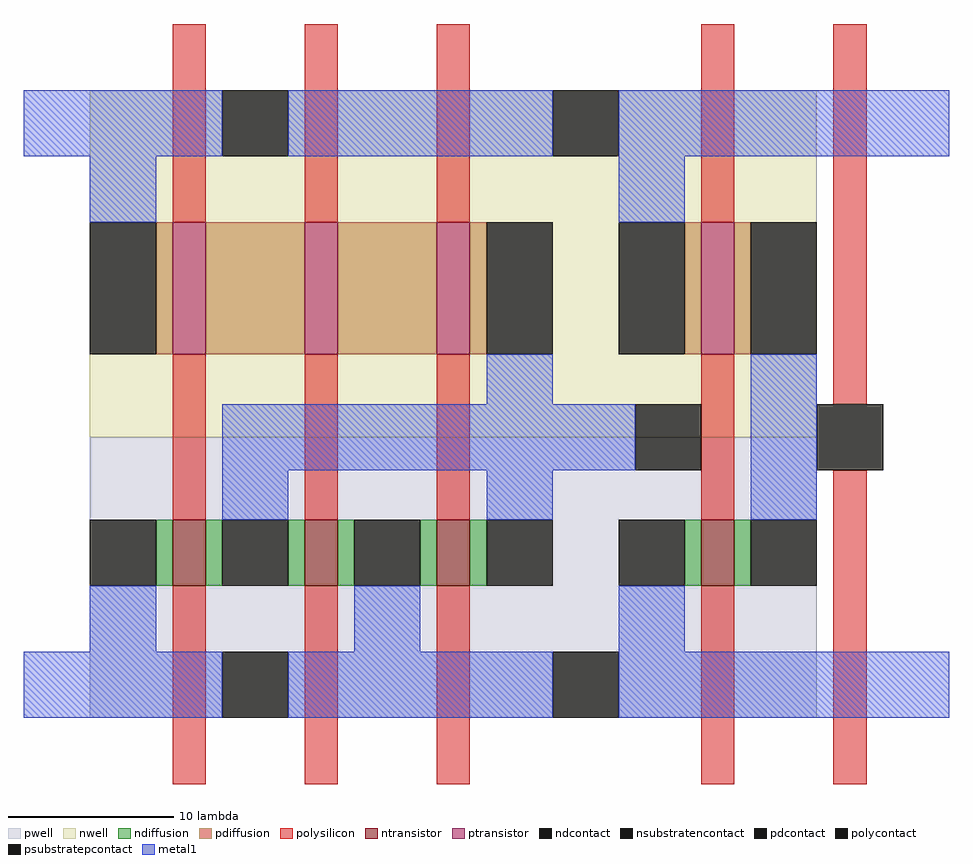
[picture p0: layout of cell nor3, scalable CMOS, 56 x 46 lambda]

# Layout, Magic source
magic
tech scmos
<< pwell >>
rect 3 -9 47 8
<< nwell >>
rect 3 8 47 29
<< polysilicon >>
rect 8 21 10 33
rect 16 21 18 33
rect 24 21 26 33
rect 40 21 42 33
rect 8 3 10 13
rect 16 3 18 13
rect 24 3 26 13
rect 40 3 42 13
rect 48 10 50 33
rect 8 -13 10 -1
rect 16 -13 18 -1
rect 24 -13 26 -1
rect 40 -13 42 -1
rect 48 -13 50 6
<< ndiffusion >>
rect 7 -1 8 3
rect 10 -1 11 3
rect 15 -1 16 3
rect 18 -1 19 3
rect 23 -1 24 3
rect 26 -1 27 3
rect 39 -1 40 3
rect 42 -1 43 3
<< pdiffusion >>
rect 7 13 8 21
rect 10 13 16 21
rect 18 13 24 21
rect 26 13 27 21
rect 39 13 40 21
rect 42 13 43 21
<< metal1 >>
rect -1 25 11 29
rect 15 25 31 29
rect 35 25 55 29
rect 3 21 7 25
rect 35 21 39 25
rect 27 10 31 13
rect 11 6 36 10
rect 11 3 15 6
rect 27 3 31 6
rect 43 3 47 13
rect 3 -5 7 -1
rect 19 -5 23 -1
rect 35 -5 39 -1
rect -1 -9 11 -5
rect 15 -9 31 -5
rect 35 -9 55 -5
<< ntransistor >>
rect 8 -1 10 3
rect 16 -1 18 3
rect 24 -1 26 3
rect 40 -1 42 3
<< ptransistor >>
rect 8 13 10 21
rect 16 13 18 21
rect 24 13 26 21
rect 40 13 42 21
<< polycontact >>
rect 36 6 40 10
rect 47 6 51 10
<< ndcontact >>
rect 3 -1 7 3
rect 11 -1 15 3
rect 19 -1 23 3
rect 27 -1 31 3
rect 35 -1 39 3
rect 43 -1 47 3
<< pdcontact >>
rect 3 13 7 21
rect 27 13 31 21
rect 35 13 39 21
rect 43 13 47 21
<< psubstratepcontact >>
rect 11 -9 15 -5
rect 31 -9 35 -5
<< nsubstratencontact >>
rect 11 25 15 29
rect 31 25 35 29
<< end >>
